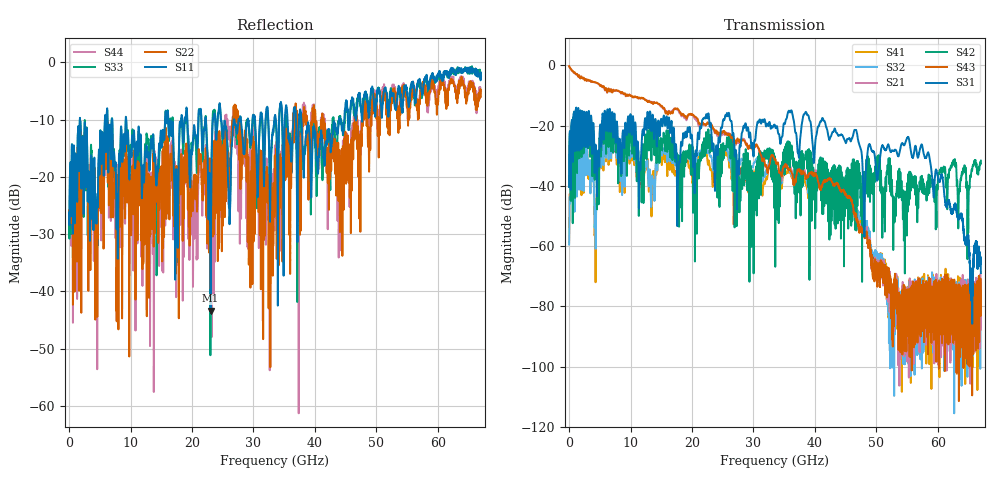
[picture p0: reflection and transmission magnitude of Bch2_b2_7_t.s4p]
!Agilent Technologies,N5247A,US51170199,A.09.90.13
!Agilent N5247A: A.09.90.13
!Date: Tuesday, October 23, 2018 10:04:19
!Correction: S11(Full 4 Port(1,2,3,4))
!S12(Full 4 Port(1,2,3,4))
!S13(Full 4 Port(1,2,3,4))
!S14(Full 4 Port(1,2,3,4))
!S21(Full 4 Port(1,2,3,4))
!S22(Full 4 Port(1,2,3,4))
!S23(Full 4 Port(1,2,3,4))
!S24(Full 4 Port(1,2,3,4))
!S31(Full 4 Port(1,2,3,4))
!S32(Full 4 Port(1,2,3,4))
!S33(Full 4 Port(1,2,3,4))
!S34(Full 4 Port(1,2,3,4))
!S41(Full 4 Port(1,2,3,4))
!S42(Full 4 Port(1,2,3,4))
!S43(Full 4 Port(1,2,3,4))
!S44(Full 4 Port(1,2,3,4))
!S4P File: Measurements: <S11,S12,S13,S14>,
!<S21,S22,S23,S24>,
!<S31,S32,S33,S34>,
!<S41,S42,S43,S44>:
# Hz S  dB  R 50
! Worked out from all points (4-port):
!   6701 points, 10 MHz to 67 GHz, reference 50 ohm
!   strongest paths, dB at 10 MHz, 16.76 GHz, 33.51 GHz, 50.25 GHz, 67 GHz:
!     S31: -40.3, -23.0, -20.1, -36.3, -68.9
!     S43: -0.3, -15.5, -31.5, -67.0, -82.9
!     S42: -40.4, -27.0, -33.5, -35.0, -31.7
!     S21: -0.4, -15.1, -33.5, -65.5, -87.7
!     S32: -59.5, -31.8, -35.4, -63.2, -84.1
!     S41: -58.9, -34.7, -38.1, -64.2, -82.7
!   lowest |S11| = -43.4 dB at 23.03 GHz (marker M1), VSWR 1.01, Z = 50.1 - j0.676 ohm
!   |S11| at or under -10 dB: 1.792 GHz to 5.821 GHz (4.029 GHz wide, 106 % of centre); 9.304 GHz to 15.62 GHz (6.317 GHz wide, 50.7 % of centre); 37.78 GHz to 43.94 GHz (6.155 GHz wide, 15.1 % of centre)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
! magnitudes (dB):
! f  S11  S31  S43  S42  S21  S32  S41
! 10 MHz  -26.7  -40.3  -0.3  -40.4  -0.4  -59.5  -58.9
! 1.64 GHz  -18.9  -24.7  -3.4  -27.9  -3.4  -41.3  -41.0
! 4.349 GHz  -25.5  -27.2  -5.7  -29.9  -5.8  -56.3  -54.9
! 23.03 GHz  -43.4  -19.1  -19.3  -24.1  -19.6  -30.4  -34.6
! 44.34 GHz  -11.2  -23.1  -41.7  -36.2  -39.5  -38.7  -40.9
! 55.1 GHz  -6.0  -23.9  -89.1  -47.4  -83.1  -92.6  -73.5
! 67 GHz  -1.8  -68.9  -82.9  -31.7  -87.7  -84.1  -82.7
